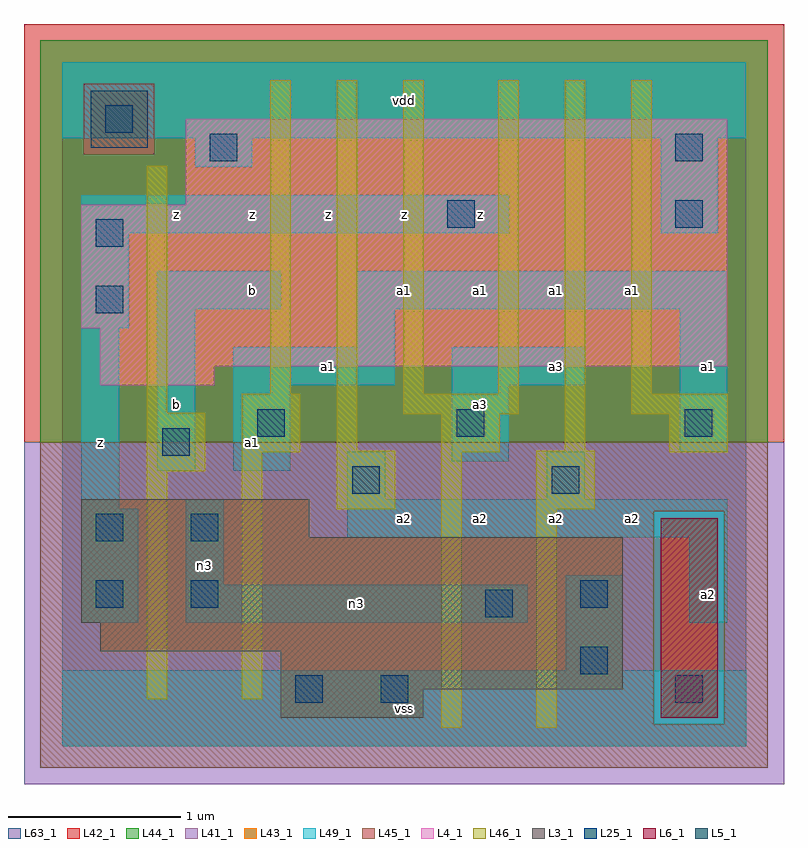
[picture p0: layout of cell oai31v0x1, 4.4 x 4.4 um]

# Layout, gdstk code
import gdstk
lib = gdstk.Library(unit=1e-6, precision=1e-09)
def R(c, l, rs):  # rectangles x0, y0, x1, y1
    for r in rs: c.add(gdstk.rectangle(r[:2], r[2:], *l))
L3_1 = (3, 1)
L4_1 = (4, 1)
L5_1 = (5, 1)
L6_1 = (6, 1)
L25_1 = (25, 1)
L41_1 = (41, 1)
L42_1 = (42, 1)
L43_1 = (43, 1)
L44_1 = (44, 1)
L45_1 = (45, 1)
L46_1 = (46, 1)
L49_1 = (49, 1)
L63_1 = (63, 1)

oai31v0x1 = lib.new_cell('oai31v0x1')
R(oai31v0x1, L3_1, [(1.265,0.165,2.09,0.33), (1.265,0.33,3.245,0.55), (0.22,0.55,3.245,0.715), (0.11,0.715,3.245,1.21), (0.11,1.21,1.43,1.43)])
R(oai31v0x1, L4_1, [(0.22,2.09,0.88,2.2), (0.22,2.2,3.85,2.42), (0.11,2.42,3.85,3.135), (0.715,3.135,3.85,3.63)])
R(oai31v0x1, L5_1, [(0.165,3.465,0.495,3.795)])
R(oai31v0x1, L6_1, [(3.465,0.165,3.795,1.32)])
R(oai31v0x1, L25_1, [(1.35,0.25,1.51,0.41), (1.845,0.25,2.005,0.41), (3.55,0.25,3.71,0.41), (3,0.415,3.16,0.575), (2.45,0.745,2.61,0.905), (0.195,0.8,0.355,0.96), (0.745,0.8,0.905,0.96), (3,0.8,3.16,0.96), (0.195,1.185,0.355,1.345), (0.745,1.185,0.905,1.345), (1.68,1.46,1.84,1.62), (2.835,1.46,2.995,1.62), (0.58,1.68,0.74,1.84), (1.13,1.79,1.29,1.95), (2.285,1.79,2.445,1.95), (3.605,1.79,3.765,1.95), (0.195,2.505,0.355,2.665), (0.195,2.89,0.355,3.05), (2.23,3,2.39,3.16), (3.55,3,3.71,3.16), (0.855,3.385,1.015,3.545), (3.55,3.385,3.71,3.545), (0.25,3.55,0.41,3.71)])
R(oai31v0x1, L41_1, [(-0.22,-0.22,4.18,1.76)])
R(oai31v0x1, L42_1, [(-0.22,1.76,4.18,4.18)])
R(oai31v0x1, L43_1, [(1.265,0.165,2.09,0.33), (3.465,0.165,3.795,1.32), (1.265,0.33,3.245,0.55), (0.22,0.55,3.245,0.715), (0.11,0.715,3.245,1.21), (0.11,1.21,1.43,1.43), (0.22,2.09,0.88,2.2), (0.22,2.2,3.85,2.42), (0.11,2.42,3.85,3.135), (0.715,3.135,3.85,3.63), (0.165,3.465,0.495,3.795)])
R(oai31v0x1, L44_1, [(3.425,0.125,3.835,1.36), (-0.125,1.76,4.085,3.425), (-0.125,3.425,0.125,3.835), (0.535,3.425,4.085,3.835), (-0.125,3.835,4.085,4.085)])
R(oai31v0x1, L45_1, [(-0.125,-0.125,4.085,0.125), (-0.125,0.125,3.425,1.36), (3.835,0.125,4.085,1.36), (-0.125,1.36,4.085,1.76), (0.125,3.425,0.535,3.835)])
R(oai31v0x1, L46_1, [(2.195,0.105,2.315,1.7), (2.745,0.105,2.865,1.37), (0.49,0.27,0.61,1.59), (1.04,0.27,1.16,1.7), (1.59,1.37,1.93,1.71), (2.745,1.37,3.085,1.71), (0.49,1.59,0.83,1.93), (1.04,1.7,1.38,2.04), (2.195,1.7,2.535,1.92), (3.515,1.7,3.855,1.92), (1.59,1.71,1.71,3.855), (2.91,1.71,3.03,3.855), (1.975,1.92,2.645,2.04), (3.295,1.92,3.855,2.04), (0.49,1.93,0.61,3.36), (1.205,2.04,1.325,3.855), (1.975,2.04,2.095,3.855), (2.525,2.04,2.645,3.855), (3.295,2.04,3.415,3.855)])
R(oai31v0x1, L49_1, [(0,0,3.96,0.44), (2.915,0.44,3.245,0.99), (0.11,0.715,0.44,1.375), (0.715,0.715,2.695,0.935), (3.63,0.715,3.85,1.21), (0.715,0.935,0.935,1.43), (1.65,1.21,3.85,1.43), (0.11,1.375,0.33,2.42), (1.65,1.43,1.87,1.705), (2.805,1.43,3.025,1.705), (0.55,1.595,0.77,2.53), (0.99,1.595,1.32,2.09), (2.255,1.65,2.585,2.09), (3.575,1.705,3.85,2.53), (0.99,2.09,1.925,2.31), (2.255,2.09,3.025,2.31), (1.705,2.31,1.925,2.53), (0.11,2.42,0.385,2.97), (0.55,2.53,1.265,2.75), (1.705,2.53,3.85,2.75), (0.11,2.97,2.585,3.19), (3.465,2.97,3.795,3.52), (0.77,3.355,1.1,3.52), (0,3.52,3.96,3.96)])
R(oai31v0x1, L63_1, [(0,0,3.96,3.96)])
oai31v0x1.add(gdstk.Label('z', (0.22,1.76), layer=49, texttype=1))
oai31v0x1.add(gdstk.Label('n3', (0.825,1.045), layer=49, texttype=1))
oai31v0x1.add(gdstk.Label('a1', (1.1,1.76), layer=49, texttype=1))
oai31v0x1.add(gdstk.Label('b', (0.66,1.98), layer=49, texttype=1))
oai31v0x1.add(gdstk.Label('b', (1.1,2.64), layer=49, texttype=1))
oai31v0x1.add(gdstk.Label('z', (1.1,3.08), layer=49, texttype=1))
oai31v0x1.add(gdstk.Label('z', (0.66,3.08), layer=49, texttype=1))
oai31v0x1.add(gdstk.Label('vss', (1.98,0.22), layer=49, texttype=1))
oai31v0x1.add(gdstk.Label('a2', (1.98,1.32), layer=49, texttype=1))
oai31v0x1.add(gdstk.Label('a1', (1.54,2.2), layer=49, texttype=1))
oai31v0x1.add(gdstk.Label('a1', (1.98,2.64), layer=49, texttype=1))
oai31v0x1.add(gdstk.Label('z', (1.98,3.08), layer=49, texttype=1))
oai31v0x1.add(gdstk.Label('z', (1.54,3.08), layer=49, texttype=1))
oai31v0x1.add(gdstk.Label('vdd', (1.98,3.74), layer=49, texttype=1))
oai31v0x1.add(gdstk.Label('n3', (1.705,0.825), layer=49, texttype=1))
oai31v0x1.add(gdstk.Label('a2', (2.42,1.32), layer=49, texttype=1))
oai31v0x1.add(gdstk.Label('a2', (2.86,1.32), layer=49, texttype=1))
oai31v0x1.add(gdstk.Label('a3', (2.42,1.98), layer=49, texttype=1))
oai31v0x1.add(gdstk.Label('a3', (2.86,2.2), layer=49, texttype=1))
oai31v0x1.add(gdstk.Label('a1', (2.42,2.64), layer=49, texttype=1))
oai31v0x1.add(gdstk.Label('a1', (2.86,2.64), layer=49, texttype=1))
oai31v0x1.add(gdstk.Label('z', (2.42,3.08), layer=49, texttype=1))
oai31v0x1.add(gdstk.Label('a2', (3.74,0.88), layer=49, texttype=1))
oai31v0x1.add(gdstk.Label('a2', (3.3,1.32), layer=49, texttype=1))
oai31v0x1.add(gdstk.Label('a1', (3.74,2.2), layer=49, texttype=1))
oai31v0x1.add(gdstk.Label('a1', (3.3,2.64), layer=49, texttype=1))

lib.write_gds('oai31v0x1.gds')
